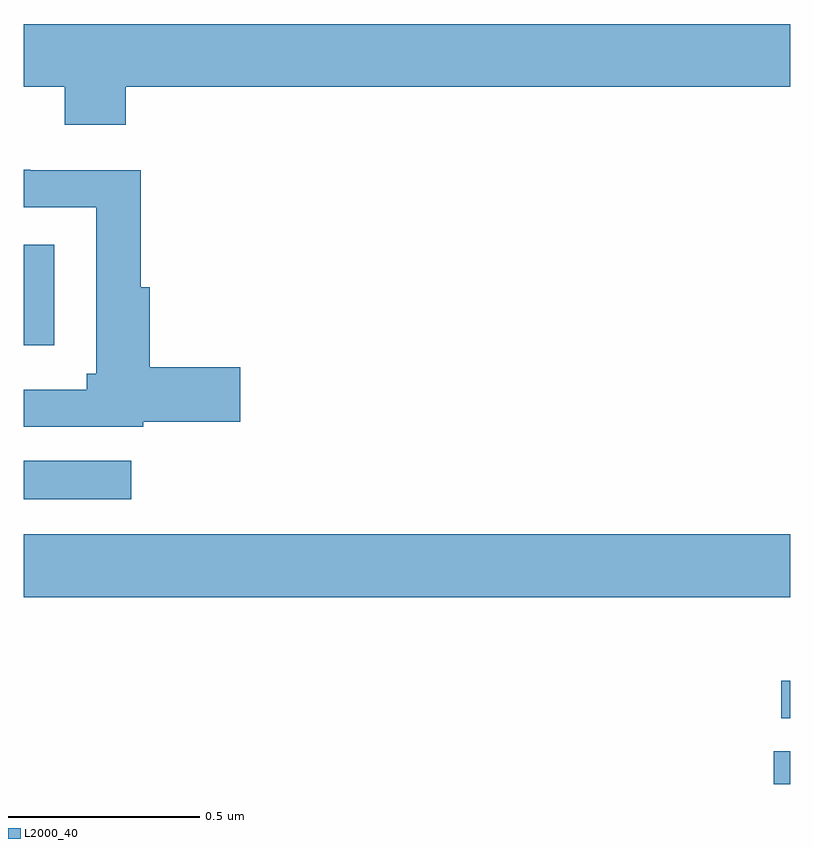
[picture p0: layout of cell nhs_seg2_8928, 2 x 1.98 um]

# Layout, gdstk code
import gdstk
lib = gdstk.Library(unit=1e-6, precision=1e-09)
def R(c, l, rs):  # rectangles x0, y0, x1, y1
    for r in rs: c.add(gdstk.rectangle(r[:2], r[2:], *l))
def P(c, l, *ps):  # polygons
    for p in ps: c.add(gdstk.Polygon(p, *l))
L2000_40 = (2000, 40)

nhs_seg2_8928 = lib.new_cell('nhs_seg2_8928')
R(nhs_seg2_8928, L2000_40, [(223.958,661.8,224,661.886), (223.977,661.971,224,662.07), (222,662.288,224,662.452), (222,662.543,222.28,662.644), (222,662.945,222.079,663.208)])
P(nhs_seg2_8928, L2000_40, [(222.266,663.62),(224,663.62),(224,663.784),(222,663.784),(222,663.62),(222.106,663.62),(222.106,663.521),(222.266,663.521)],
  [(222.312,662.746),(222.565,662.746),(222.565,662.888),(222.329,662.888),(222.329,663.097),(222.305,663.097),(222.305,663.402),(222.017,663.402),(222.017,663.404),(222,663.404),(222,663.306),(222.189,663.306),(222.189,662.871),(222.164,662.871),(222.164,662.829),(222,662.829),(222,662.733),(222.312,662.733)])

lib.write_gds('nhs_seg2_8928.gds')
